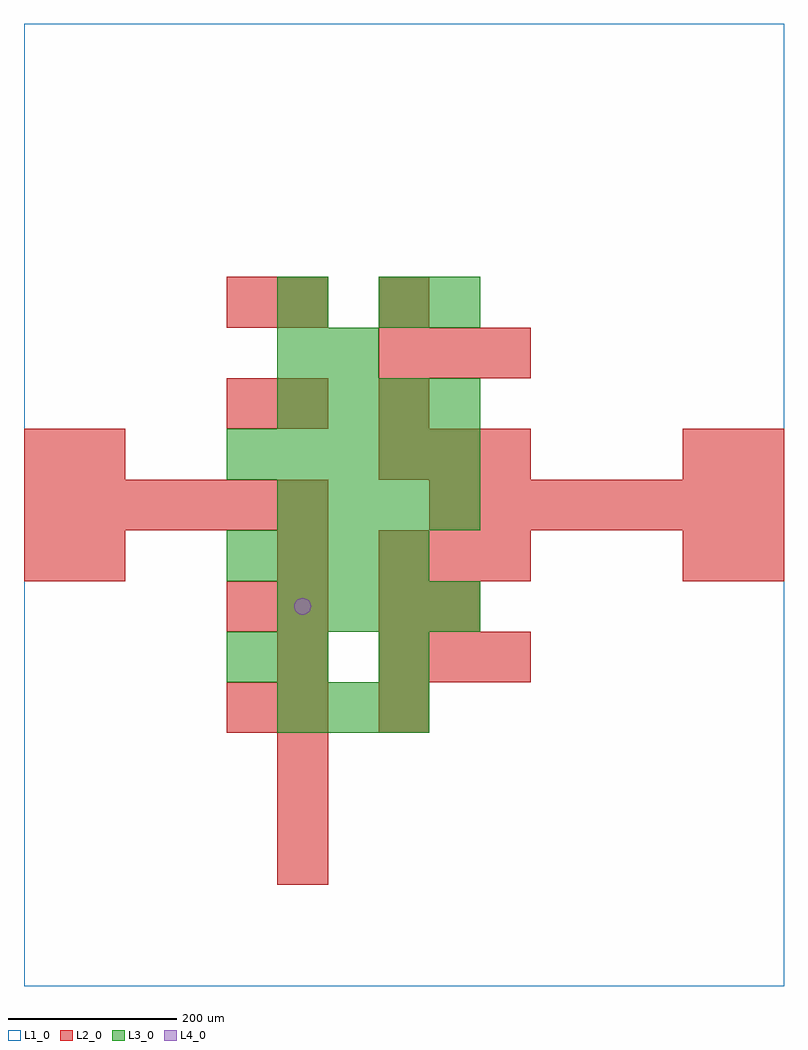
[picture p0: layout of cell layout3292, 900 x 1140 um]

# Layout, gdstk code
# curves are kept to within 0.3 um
import gdstk
lib = gdstk.Library(unit=1e-6, precision=1e-09)
def R(c, l, rs):  # rectangles x0, y0, x1, y1
    for r in rs: c.add(gdstk.rectangle(r[:2], r[2:], *l))
def A(c, l, x, y, w, h, nx, ny, dx, dy):  # array of equal rectangles
    R(c, l, [(x+i*dx, y+j*dy, x+i*dx+w, y+j*dy+h) for i in range(nx) for j in range(ny)])
def P(c, l, *ps):  # polygons
    for p in ps: c.add(gdstk.Polygon(p, *l))
L1_0 = (1, 0)
L2_0 = (2, 0)
L3_0 = (3, 0)
L4_0 = (4, 0)

layout3292 = lib.new_cell('layout3292')
R(layout3292, L1_0, [(0,0,900,1140)])
A(layout3292, L2_0, 300, 120, 60, 60, 1, 7, 0, 60)
A(layout3292, L2_0, 420, 360, 60, 60, 3, 4, 60, 120)
A(layout3292, L2_0, 0, 540, 60, 60, 6, 1, 60, 0)
A(layout3292, L2_0, 480, 540, 60, 60, 7, 1, 60, 0)
R(layout3292, L2_0, [(240,300,300,360), (420,300,480,360), (240,420,300,480), (420,420,480,480), (480,420,540,480), (0,480,60,540), (60,480,120,540), (780,480,840,540), (840,480,900,540), (0,600,60,660), (60,600,120,660), (780,600,840,660), (840,600,900,660), (240,660,300,720), (300,660,360,720), (420,660,480,720), (240,780,300,840), (300,780,360,840), (420,780,480,840)])
A(layout3292, L3_0, 300, 300, 60, 60, 3, 1, 60, 0)
A(layout3292, L3_0, 300, 420, 60, 60, 4, 3, 60, 120)
A(layout3292, L3_0, 240, 480, 60, 60, 4, 1, 60, 0)
A(layout3292, L3_0, 240, 600, 60, 60, 5, 1, 60, 0)
R(layout3292, L3_0, [(240,360,300,420), (300,360,360,420), (420,360,480,420), (300,720,360,780), (360,720,420,780), (300,780,360,840), (420,780,480,840), (480,780,540,840)])
P(layout3292, L4_0, [(340,450),(339.239,453.827),(337.071,457.071),(333.827,459.239),(330,460),(326.173,459.239),(322.929,457.071),(320.761,453.827),(320,450),(320.761,446.173),(322.929,442.929),(326.173,440.761),(330,440),(333.827,440.761),(337.071,442.929),(339.239,446.173)])

lib.write_gds('layout3292.gds')
